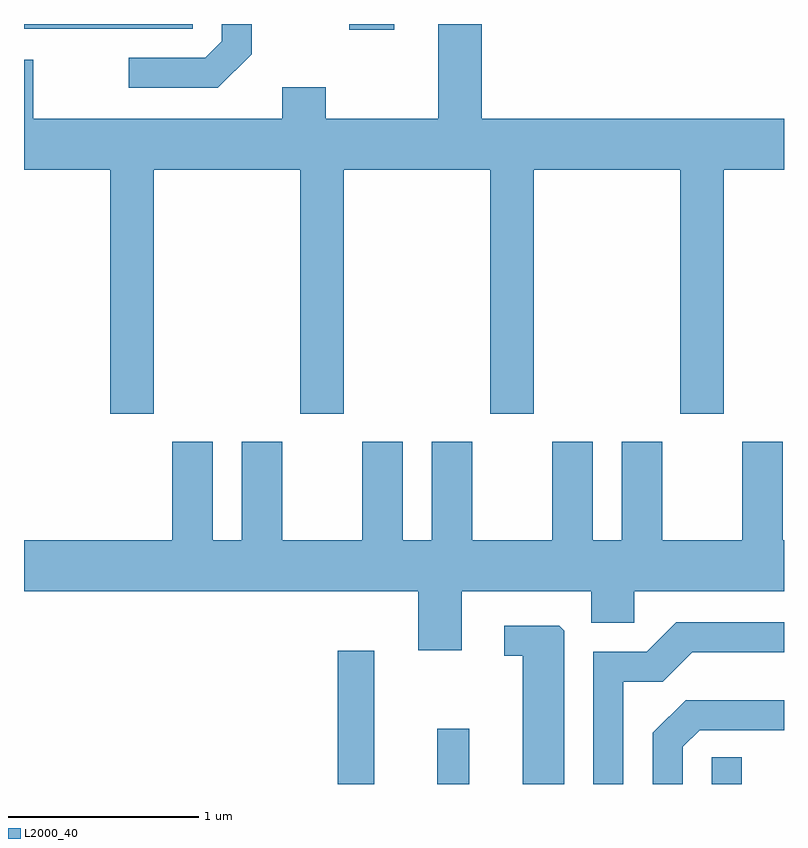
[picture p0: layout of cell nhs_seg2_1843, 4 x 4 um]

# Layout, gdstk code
import gdstk
lib = gdstk.Library(unit=1e-6, precision=1e-09)
def R(c, l, rs):  # rectangles x0, y0, x1, y1
    for r in rs: c.add(gdstk.rectangle(r[:2], r[2:], *l))
def P(c, l, *ps):  # polygons
    for p in ps: c.add(gdstk.Polygon(p, *l))
L2000_40 = (2000, 40)

nhs_seg2_1843 = lib.new_cell('nhs_seg2_1843')
R(nhs_seg2_1843, L2000_40, [(241.261,991.802,241.454,992.504), (241.786,991.802,241.954,992.093), (243.231,991.802,243.389,991.943), (241.323,995.771,241.559,995.802), (239.611,995.776,240.499,995.802)])
P(nhs_seg2_1843, L2000_40, [(240.294,995.036),(241.066,995.036),(241.066,993.751),(241.294,993.751),(241.294,995.036),(242.066,995.036),(242.066,993.751),(242.294,993.751),(242.294,995.036),(243.066,995.036),(243.066,993.751),(243.294,993.751),(243.294,995.036),(243.611,995.036),(243.611,995.304),(242.019,995.304),(242.019,995.802),(241.791,995.802),(241.791,995.304),(241.199,995.304),(241.199,995.469),(240.971,995.469),(240.971,995.304),(239.659,995.304),(239.659,995.614),(239.611,995.614),(239.611,995.036),(240.066,995.036),(240.066,993.751),(240.294,993.751)],
  [(240.809,995.644),(240.809,995.802),(240.651,995.802),(240.651,995.712),(240.564,995.624),(240.163,995.624),(240.163,995.466),(240.632,995.466)],
  [(242.391,993.084),(241.969,993.084),(241.969,993.604),(241.756,993.604),(241.756,993.084),(241.604,993.084),(241.604,993.604),(241.391,993.604),(241.391,993.084),(240.969,993.084),(240.969,993.604),(240.756,993.604),(240.756,993.084),(240.604,993.084),(240.604,993.604),(240.391,993.604),(240.391,993.084),(239.611,993.084),(239.611,992.816),(241.686,992.816),(241.686,992.506),(241.914,992.506),(241.914,992.816),(242.596,992.816),(242.596,992.651),(242.824,992.651),(242.824,992.816),(243.611,992.816),(243.611,993.084),(243.604,993.084),(243.604,993.604),(243.391,993.604),(243.391,993.084),(242.969,993.084),(242.969,993.604),(242.756,993.604),(242.756,993.084),(242.604,993.084),(242.604,993.604),(242.391,993.604)],
  [(242.764,992.341),(242.972,992.341),(243.127,992.496),(243.611,992.496),(243.611,992.654),(243.044,992.654),(242.889,992.499),(242.606,992.499),(242.606,991.802),(242.764,991.802)],
  [(242.454,992.609),(242.429,992.634),(242.138,992.634),(242.138,992.476),(242.236,992.476),(242.236,991.802),(242.454,991.802)],
  [(243.079,991.999),(243.167,992.086),(243.611,992.086),(243.611,992.244),(243.094,992.244),(242.921,992.072),(242.921,991.802),(243.079,991.802)])

lib.write_gds('nhs_seg2_1843.gds')
